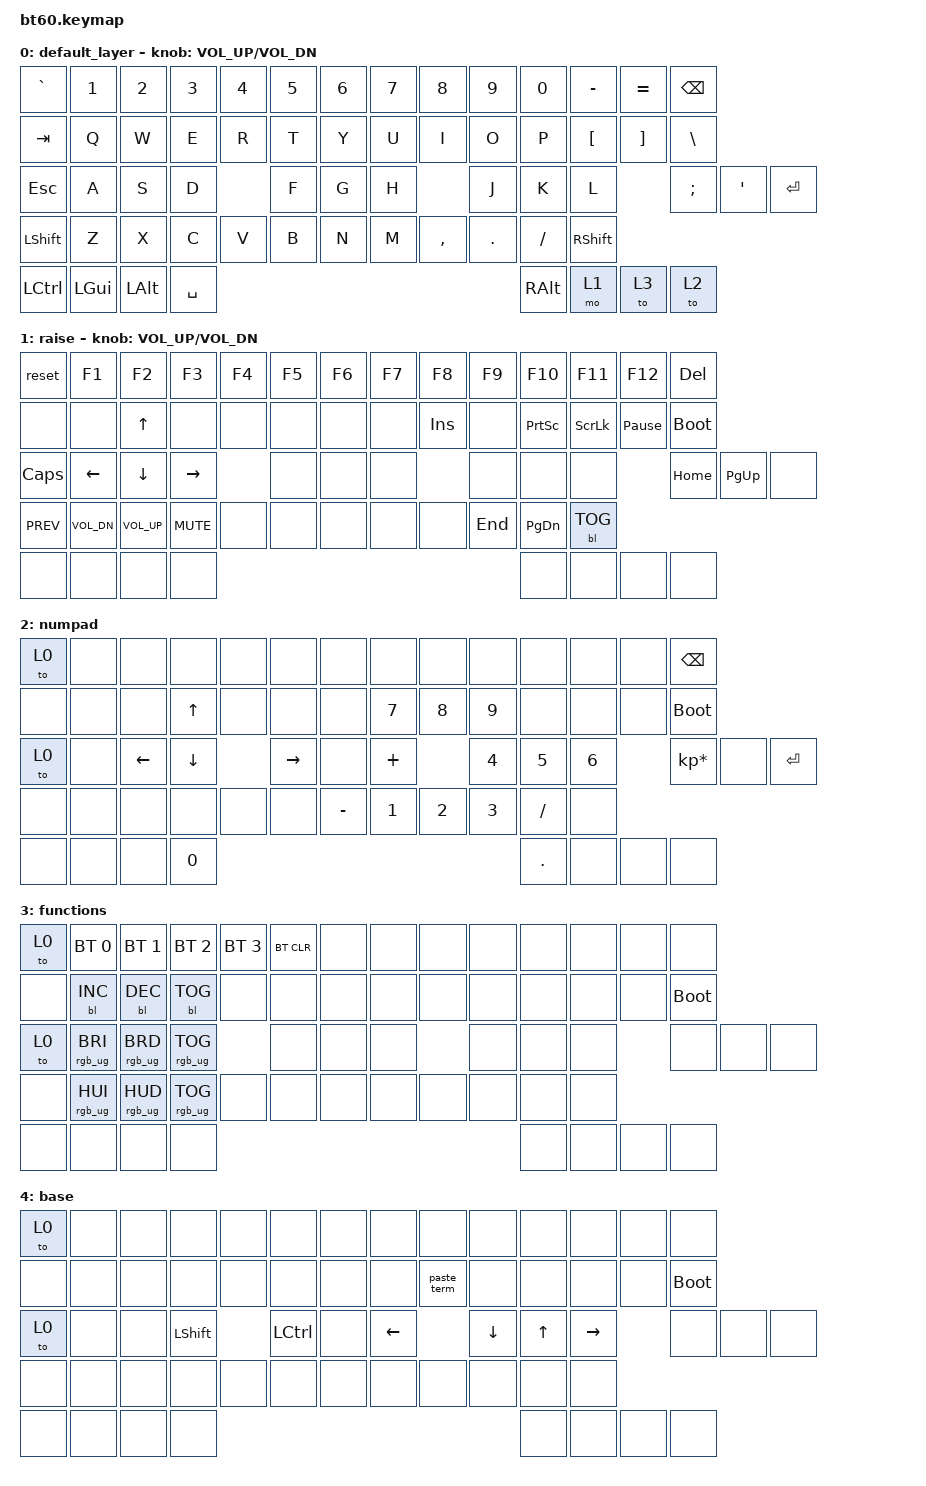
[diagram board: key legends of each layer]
#include <behaviors.dtsi>
#include <dt-bindings/zmk/keys.h>
#include <dt-bindings/zmk/bt.h>
#include <dt-bindings/zmk/rgb.h>
#include <dt-bindings/zmk/backlight.h>

/ {
	behaviors {
        pht: positional_hold_tap {
            compatible = "zmk,behavior-hold-tap";
            label = "POSITIONAL_HOLD_TAP";
            #binding-cells = <2>;
            flavor = "hold-preferred";
            tapping-term-ms = <200>;
            quick-tap-ms = <100>;
            bindings = <&kp>, <&kp>;
            // hold-trigger-key-positions = <1>;    // <---[[the W key]]
        };
        hlt: positional_hold_tap {
            compatible = "zmk,behavior-hold-tap";
            label = "POSITIONAL_HOLD_TAP";
            #binding-cells = <2>;
            flavor = "hold-preferred";
            tapping-term-ms = <200>;
            quick-tap-ms = <100>;
            bindings = <&mo>, <&kp>;
            // hold-trigger-key-positions = <1>;    // <---[[the W key]]
        };
    };
	macros {
        paste_term: paste_term {
            label = "ZM_paste_term";
            compatible = "zmk,behavior-macro";
            #binding-cells = <0>;
            bindings
                = <&macro_press &kp LSHFT>
                , <&macro_tap &kp INSERT>
                , <&macro_release &kp LSHFT>
                ;
        };
    };
	keymap {
		compatible = "zmk,keymap";

		default_layer {
				// ------------------------------------------------------------------------------------------
				// |  `  |  1  |  2  |  3  |  4  |  5  |  6  |  7  |  8  |  9  |  0  |  -  |  =  |   BKSP
				// | TAB  |  Q  |  W  |  E  |  R  |  T  |  Y  |  U  |  I  |  O  |  P  |  [  |  ]  |   |
				// | CAPS  |  A  |  S  |  D  |  F  |  G  |  H  |  J  |  K  |  L  |  ;  |  '  |     ENTER
				// |  SHIFT    |  Z  |  X  |  C  |  V  |  B  |  N  |  M  |  ,  |  .  | /   |      SHIFT
				// |  CTL  |  WIN  |  ALT  |            SPACE               | ALT | 1    |  MENU    |  CTRL
				// ------------------------------------------------------------------------------------------
			bindings = <

				&kp GRAVE &kp N1 &kp N2 &kp N3 &kp N4 &kp N5 &kp N6 &kp N7 &kp N8 &kp N9 &kp N0 &kp MINUS &kp EQUAL &kp BSPC
				&kp TAB  &kp Q  &kp W  &kp E  &kp R  &kp T  &kp Y  &kp U  &kp  I    &kp  O  &kp  P   &kp LBKT &kp RBKT   &kp BSLH
				&kp ESC  &kp A  &kp S  &kp D  &kp F  &kp G  &kp H  &kp J  &kp  K    &kp  L  &kp SEMI &kp SQT            &kp RET
				&kp LSHFT  &kp Z  &kp X  &kp C  &kp V  &kp B  &kp N  &kp M  &kp COMMA &kp DOT &kp FSLH                   &kp RSHFT
				&kp LCTRL &kp LGUI &kp LALT            &kp SPACE                          &kp RALT  &mo 1 &to 3    &to 2
			>;
			sensor-bindings = <&inc_dec_kp C_VOL_UP C_VOL_DN>;
		};
		// 1 - hold from layer 0
		raise {
			bindings = <
				&reset &kp F1 &kp F2 &kp F3 &kp F4 &kp F5 &kp F6 &kp F7 &kp F8 &kp F9 &kp F10 &kp F11 &kp F12 &kp DEL
				&none &none &kp UP &none &none &none &none &none &kp INS &none &kp PSCRN &kp SLCK &kp PAUSE_BREAK &bootloader
				&kp CAPS    &kp LEFT &kp DOWN &kp RIGHT &none &none &none &none &none &none &kp HOME  &kp PG_UP   &none
				&kp C_PREV &kp C_VOL_DN &kp C_VOL_UP &kp C_MUTE &none &none &none &none &none &kp END &kp PG_DN  &bl BL_TOG
				&none &none  &none              &none                            &none   &none   &none &none
			>;
			sensor-bindings = <&inc_dec_kp C_VOL_UP C_VOL_DN>;
		};
		// 2 - changed from layer 0
		numpad {
			bindings = <
				&to 0 &none &none &none &none &none &none &none &none &none &none &none &none &kp BSPC
				&none &none &none &kp UP &none &none &none &kp N7 &kp N8 &kp N9 &none &none &none &bootloader
				&to 0   &none &kp LEFT &kp DOWN &kp RIGHT &none &kp PLUS &kp N4 &kp N5 &kp N6 &kp KP_MULTIPLY &none   &kp RET
				&none    &none &none &none &none &none &kp MINUS &kp N1 &kp N2 &kp N3 &kp FSLH    &none
				&none &none &none                   &kp N0                     &kp DOT &none &none &none
			>;
		};
		// 3 - changed from layer 0
		functions {
			bindings = <
				&to 0 &bt BT_SEL 0 &bt BT_SEL 1 &bt BT_SEL 2 &bt BT_SEL 3 &bt BT_CLR &none &none &none &none &none &none &none &none
				&none &bl BL_INC &bl BL_DEC &bl BL_TOG &none &none &none &none &none &none &none &none &none &bootloader
				&to 0   &rgb_ug RGB_BRI  &rgb_ug RGB_BRD &rgb_ug RGB_TOG &none &none &none &none &none &none &none &none   &none
				&none    &rgb_ug RGB_HUI  &rgb_ug RGB_HUD &rgb_ug RGB_TOG &none &none &none &none &none &none &none    &none
				&none &none &none                   &none                     &none &none &none &none
			>;
		};
		// 4 - changed from layer 0
		base {
			bindings = <
				&to 0 &none &none &none &none &none &none &none &none &none &none &none &none &none
				&none &none &none &none &none &none &none &none &paste_term &none &none &none &none &bootloader
				&to 0 &none &none &kp LSHFT &kp LCTRL &none &kp LEFT &kp DOWN &kp UP &kp RIGHT &none &none   &none
				&none &none &none &none &none &none &none &none &none &none &none    &none
				&none &none &none                   &none                     &none &none &none &none
			>;
		};
	};
};
